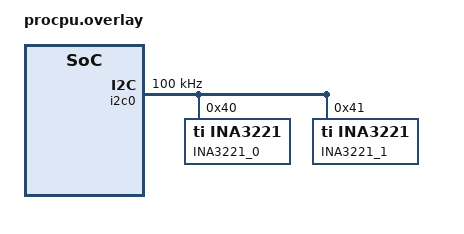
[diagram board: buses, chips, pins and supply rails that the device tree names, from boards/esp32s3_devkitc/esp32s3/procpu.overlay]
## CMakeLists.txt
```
cmake_minimum_required(VERSION 3.20.0)

find_package(Zephyr REQUIRED HINTS $ENV{ZEPHYR_BASE})
project(app_playground)

target_sources(app PRIVATE src/main.c)
# target_include_directories(app PRIVATE ${ZEPHYR_BASE}/subsys/fs/nvs)
```

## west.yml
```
manifest:
  projects:
    - name: app-nvs-lib
      url: https://github.com/pandazxx/app-nvs-lib.git
      revision: main
      path: modules/app-nvs-lib
```

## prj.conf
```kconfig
CONFIG_SETTINGS=y
CONFIG_BT_DEVICE_NAME="app_wifi_lib"
CONFIG_BT=y
CONFIG_BT_PERIPHERAL=y
CONFIG_BT_SETTINGS=y

# nvs
CONFIG_NVS=y
CONFIG_FLASH=y


## Wifi related
# Wi-Fi Configuration
CONFIG_WIFI=y

# Network Configuration
CONFIG_NET_CONFIG_AUTO_INIT=y
CONFIG_NET_CONNECTION_MANAGER=y
CONFIG_NET_DHCPV4=y
CONFIG_NET_DHCPV4_LOG_LEVEL_DBG=y
# CONFIG_NET_DHCPV4_SERVER=y
CONFIG_NET_IF_MAX_IPV4_COUNT=2
# CONFIG_NET_IF_MAX_IPV6_COUNT=2
CONFIG_NET_IPV4=y
CONFIG_NET_L2_ETHERNET=y
CONFIG_NET_L2_WIFI_MGMT=y
CONFIG_NET_MGMT=y
CONFIG_NET_MGMT_EVENT=y
CONFIG_NET_MGMT_EVENT_INFO=y
CONFIG_NET_MGMT_EVENT_QUEUE_SIZE=10
CONFIG_NET_MGMT_EVENT_STACK_SIZE=4096
CONFIG_NET_PKT_RX_COUNT=16
CONFIG_NET_PKT_TX_COUNT=16
CONFIG_NET_SOCKETS_SERVICE_STACK_SIZE=4096
CONFIG_NET_TCP=y
CONFIG_NET_UDP=y
CONFIG_NETWORKING=y

# LOG Configuration
CONFIG_NET_LOG=y
# CONFIG_NET_DHCPV4_SERVER_LOG_LEVEL_DBG=y
CONFIG_ESP32_WIFI_STA_RECONNECT=y

CONFIG_APP_WIFI_DEFAULT_SSID="ssid"
CONFIG_APP_WIFI_DEFAULT_PSK="psk"

# DNS
# Enable the DNS resolver
CONFIG_APP_DNS_LIB=y
CONFIG_DNS_RESOLVER=y
# Enable additional buffers
CONFIG_DNS_RESOLVER_ADDITIONAL_BUF_CTR=5
# Enable additional queries
CONFIG_DNS_RESOLVER_ADDITIONAL_QUERIES=2
# Enable mDNS support
CONFIG_MDNS_RESOLVER=y
# Enable LLMNR support
CONFIG_LLMNR_RESOLVER=n
CONFIG_DNS_RESOLVER_LOG_LEVEL_DBG=y
CONFIG_ZVFS_POLL_MAX=5
CONFIG_NET_CONFIG_SETTINGS=y
CONFIG_NET_CONFIG_NEED_IPV4=y




CONFIG_EARLY_CONSOLE=y
CONFIG_CPP=y
# General config
# CONFIG_MAIN_STACK_SIZE=3072
CONFIG_SYSTEM_WORKQUEUE_STACK_SIZE=2048
CONFIG_SHELL=n
CONFIG_LOG=y
CONFIG_ENTROPY_GENERATOR=y
# CONFIG_TEST_RANDOM_GENERATOR=y
CONFIG_INIT_STACKS=y
CONFIG_ZVFS_OPEN_MAX=32
CONFIG_POSIX_API=y
CONFIG_FDTABLE=y
CONFIG_ZVFS_POLL_MAX=32

# Eventfd
CONFIG_EVENTFD=y

# Networking config
CONFIG_NETWORKING=y
#CONFIG_TEST_RANDOM_GENERATOR=y
CONFIG_NET_IPV4=y
CONFIG_NET_IPV6=n
CONFIG_NET_TCP=y
CONFIG_NET_SOCKETS=y
CONFIG_NET_CONNECTION_MANAGER=y
CONFIG_NET_SHELL=n
CONFIG_NET_STATISTICS=n
CONFIG_NET_STATISTICS_USER_API=n
CONFIG_NET_LOG=y

# CONFIG_MAIN_STACK_SIZE=5200
# CONFIG_SHELL_STACK_SIZE=5200
# CONFIG_NET_TX_STACK_SIZE=2048
# CONFIG_NET_RX_STACK_SIZE=2048
# JSON
CONFIG_JSON_LIBRARY=y

CONFIG_NET_PKT_RX_COUNT=10
CONFIG_NET_PKT_TX_COUNT=10
CONFIG_NET_BUF_RX_COUNT=20
CONFIG_NET_BUF_TX_COUNT=20
CONFIG_NET_MAX_CONTEXTS=10
CONFIG_NET_DHCPV4=y
CONFIG_NET_DHCPV4_LOG_LEVEL_DBG=y
CONFIG_NET_DHCPV4_OPTION_DNS_ADDRESS=y
# HTTP parser
CONFIG_HTTP_PARSER_URL=n
CONFIG_HTTP_PARSER=n
CONFIG_HTTP_SERVER=n
CONFIG_HTTP_SERVER_WEBSOCKET=n

# CONFIG_NET_IPV4=y
# CONFIG_NET_IPV6=n
# Network buffers
CONFIG_NET_PKT_RX_COUNT=16
CONFIG_NET_PKT_TX_COUNT=16
CONFIG_NET_BUF_RX_COUNT=64
CONFIG_NET_BUF_TX_COUNT=64
CONFIG_NET_CONTEXT_NET_PKT_POOL=y

CONFIG_NET_TCP=y
# IP address options
# CONFIG_NET_IF_UNICAST_IPV6_ADDR_COUNT=3
# CONFIG_NET_IF_MCAST_IPV6_ADDR_COUNT=4
CONFIG_NET_MAX_CONTEXTS=32
CONFIG_NET_MAX_CONN=32

CONFIG_NET_LOG=y
CONFIG_INIT_STACKS=y
# Network address config
CONFIG_NET_CONFIG_SETTINGS=y
CONFIG_NET_CONFIG_NEED_IPV4=y
CONFIG_NET_CONFIG_NEED_IPV6=n
# CONFIG_NET_CONFIG_MY_IPV4_ADDR="192.0.2.1"
# CONFIG_NET_CONFIG_PEER_IPV4_ADDR="192.0.2.2"
# CONFIG_NET_CONFIG_MY_IPV4_GW="192.0.2.2"
# CONFIG_NET_CONFIG_MY_IPV6_ADDR="2001:db8::1"
# CONFIG_NET_CONFIG_PEER_IPV6_ADDR="2001:db8::2"

CONFIG_NET_SHELL=n
# Networking tweaks
# Required to handle large number of consecutive connections,
# e.g. when testing with ApacheBench.
CONFIG_NET_TCP_TIME_WAIT_DELAY=0

CONFIG_NET_STATISTICS=n
CONFIG_NET_STATISTICS_PERIODIC_OUTPUT=n
# Device drivers
CONFIG_GPIO=y
CONFIG_LED=y
CONFIG_I2C=y
CONFIG_SENSOR=y
CONFIG_INA3221=y

CONFIG_WIFI=y
CONFIG_WIFI_LOG_LEVEL_ERR=y
# CONFIG_NET_L2_WIFI_SHELL=y
CONFIG_WIFI_USAGE_MODE_STA=y

# printing of scan results puts pressure on queues in new locking
# design in net_mgmt. So, use a higher timeout for a crowded
# environment.
CONFIG_NET_MGMT_EVENT_QUEUE_TIMEOUT=5000
CONFIG_NET_MGMT_EVENT_QUEUE_SIZE=8
# Network debug config
CONFIG_NET_SOCKETS_LOG_LEVEL_DBG=n
CONFIG_NET_HTTP_LOG_LEVEL_DBG=n
# CONFIG_NET_IPV6_LOG_LEVEL_DBG=n
# CONFIG_NET_IPV6_ND_LOG_LEVEL_DBG=n

# MQTT
# Enable the MQTT Lib
CONFIG_MQTT_LIB=y



# Enable the DNS resolver
CONFIG_DNS_RESOLVER=y
# Enable additional buffers
CONFIG_DNS_RESOLVER_ADDITIONAL_BUF_CTR=5
# Enable additional queries
CONFIG_DNS_RESOLVER_ADDITIONAL_QUERIES=2
# Enable mDNS support
CONFIG_MDNS_RESOLVER=y
# Enable LLMNR support
CONFIG_LLMNR_RESOLVER=n
CONFIG_DNS_RESOLVER_LOG_LEVEL_DBG=y

# Enable MQTT
CONFIG_APP_MQTT_LIB=y
CONFIG_APP_POLL_LIB=y

# CONFIG_SPEED_OPTIMIZATIONS=n

CONFIG_SENSOR_LOG_LEVEL_DBG=y
```

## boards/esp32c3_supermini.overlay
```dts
/ {
  chosen {
    /* zephyr,display = &ssd1306; */
  };
  aliases {
  };
  
  buttons { 
    
  };
};
```

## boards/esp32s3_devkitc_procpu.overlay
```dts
/ {
  chosen {
    /* zephyr,display = &ssd1306; */
  };
  aliases {
  };

  buttons {
  };
};

&i2c0 {
  status = "okay";
  clock-frequency = <I2C_BITRATE_STANDARD>;
  pinctrl-0 = <&i2c0_default>;
  pinctrl-names = "default";

  ina0: ina3221@40 {
    compatible = "ti,ina3221";
    reg = <0x40>;
    #address-cells = <1>;
    #size-cells = <0>;
    status = "disabled";
    label = "INA3221_0";
    shunt-resistors = <010 010 010>;
    conv-time-shunt = <6>;
    conv-time-bus = <6>;
    avg-mode = <2>;

    channel@0 {
      compatible = "app,ina3221channel";
      reg = <0>;
      app,tag = "main_12v";
    };

    channel@1 {
      compatible = "app,ina3221channel";
      reg = <1>;
      app,tag = "fan_12v";
    };

    channel@2 {
      compatible = "app,ina3221channel";
      reg = <2>;
      app,tag = "aux_5v";
    };
  };
  ina1: ina3221@41 {
    compatible = "ti,ina3221";
    reg = <0x41>;
    #address-cells = <1>;
    #size-cells = <0>;
    label = "INA3221_1";
    status = "okay";
    shunt-resistors = <10 10 10>;
    conv-time-shunt = <6>;
    conv-time-bus = <6>;
    avg-mode = <2>;

    channel@0 {
      compatible = "app,ina3221channel";
      reg = <0>;
      app,tag = "module2_12v";
    };

    channel@1 {
      compatible = "app,ina3221channel";
      reg = <1>;
      app,tag = "module2_fan";
    };

    channel@2 {
      compatible = "app,ina3221channel";
      reg = <2>;
      app,tag = "module2_aux";
    };
  };
};
```

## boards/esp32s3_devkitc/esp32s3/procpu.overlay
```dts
/ {
  chosen {
    /* zephyr,display = &ssd1306; */
  };
  aliases {
  };

  buttons {
  };
};

&i2c0 {
  status = "okay";
  clock-frequency = <I2C_BITRATE_STANDARD>;
  pinctrl-0 = <&i2c0_default>;
  pinctrl-names = "default";

  ina0: ina3221@40 {
    compatible = "ti,ina3221";
    reg = <0x40>;
    #address-cells = <1>;
    #size-cells = <0>;
    status = "okay";
    label = "INA3221_0";
    shunt-resistors = <010 010 010>;
    conv-time-shunt = <6>;
    conv-time-bus = <6>;
    avg-mode = <2>;

    channel@0 {
      compatible = "app,ina3221channel";
      reg = <0>;
      app,tag = "main_12v";
    };

    channel@1 {
      compatible = "app,ina3221channel";
      reg = <1>;
      app,tag = "fan_12v";
    };

    channel@2 {
      compatible = "app,ina3221channel";
      reg = <2>;
      app,tag = "aux_5v";
    };
  };
  ina1: ina3221@41 {
    compatible = "ti,ina3221";
    reg = <0x41>;
    #address-cells = <1>;
    #size-cells = <0>;
    label = "INA3221_1";
    status = "okay";
    shunt-resistors = <010 010 010>;
    conv-time-shunt = <6>;
    conv-time-bus = <6>;
    avg-mode = <2>;

    channel@0 {
      compatible = "app,ina3221channel";
      reg = <0>;
      app,tag = "module2_12v";
    };

    channel@1 {
      compatible = "app,ina3221channel";
      reg = <1>;
      app,tag = "module2_fan";
    };

    channel@2 {
      compatible = "app,ina3221channel";
      reg = <2>;
      app,tag = "module2_aux";
    };
  };
};
```

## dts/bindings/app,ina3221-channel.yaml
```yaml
# SPDX-License-Identifier: Apache-2.0

description: App-specific metadata for INA3221 channel tags.

compatible: "app,ina3221channel"

include: base.yaml

properties:
  reg:
    required: true
    description: INA3221 channel index (0..2).
  app,tag:
    type: string
    description: Custom tag to publish with this channel.
  app,description:
    type: string
    description: Optional description for this channel.
```

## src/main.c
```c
#include "zephyr/logging/log.h"
#include "zephyr/logging/log_core.h"
#include "zephyr/net/mqtt.h"
#include "zephyr/sys/printk.h"
#include <app_dns_lib/app_dns_lib.h>
#include <app_mqtt_lib/app_mqtt_lib.h>
#include <app_poll_lib/app_poll_lib.h>
#include <app_wifi_lib/app_wifi_lib.h>
#include <zephyr/device.h>
#include <zephyr/drivers/sensor.h>
#include <zephyr/kernel.h>
#include <zephyr/sys/util.h>

LOG_MODULE_REGISTER(app_playground, LOG_LEVEL_DBG);
static app_dns_record test_dns_record = {.resolved = false,
                                         .host_name = "hcs01.local"};

static struct mqtt_topic ina3221_topic = {
    .topic = MQTT_UTF8_LITERAL("v1/sensors/ina3221/state"),
    .qos = MQTT_QOS_1_AT_LEAST_ONCE,
};

#define SENSOR_ATTR_INA3221_SELECTED_CHANNEL (SENSOR_ATTR_PRIV_START + 1)

struct ina3221_channel_meta {
  const struct device *dev;
  uint8_t channel;
  const char *tag;
};
// static const struct device *const ina1 = DEVICE_DT_GET(DT_NODELABEL(ina1));

#define INA3221_CHANNEL_TAG(node_id)                                           \
  DT_PROP_OR(node_id, app_tag,                                                 \
             DT_PROP_OR(node_id, app_description,                              \
                        DT_PROP_OR(node_id, label, "channel")))

#define INA3221_CHANNEL_ENTRY(node_id)                                         \
  IF_ENABLED(DT_NODE_HAS_STATUS(DT_PARENT(node_id), okay),                     \
             ({                                                                \
                  .dev = DEVICE_DT_GET(DT_PARENT(node_id)),                    \
                  .channel = DT_REG_ADDR(node_id),                             \
                  .tag = INA3221_CHANNEL_TAG(node_id),                         \
              }, ))

static const struct ina3221_channel_meta ina3221_channels[] = {
#if DT_HAS_COMPAT_STATUS_OKAY(app_ina3221channel)
    DT_FOREACH_STATUS_OKAY(app_ina3221channel, INA3221_CHANNEL_ENTRY)
#endif
};

// static int32_t sensor_value_to_milli(const struct sensor_value *val) {
//   /* Convert sensor_value (val1 + val2/1e6) to milli-units without floats. */
//   return (int32_t)(val->val1 * 1000) + (int32_t)(val->val2 / 1000);
// }

static int ina3221_read_channel(const struct device *dev, uint8_t channel,

                                struct sensor_value *vbus,
                                struct sensor_value *icur) {
  struct sensor_value idx = {.val1 = channel + 1, .val2 = 0};

  int ret = sensor_attr_set(
      dev, SENSOR_CHAN_ALL,
      (enum sensor_attribute)SENSOR_ATTR_INA3221_SELECTED_CHANNEL, &idx);
  if (ret != 0) {
    return ret;
  }

  ret = sensor_sample_fetch(dev);
  if (ret != 0) {
    return ret;
  }

  ret = sensor_channel_get(dev, SENSOR_CHAN_VOLTAGE, vbus);
  if (ret != 0) {
    return ret;
  }

  return sensor_channel_get(dev, SENSOR_CHAN_CURRENT, icur);
}

int main(void) {
  app_wifi_lib_init();
  app_dns_lib_init();
  app_poll_lib_init();

  if (ARRAY_SIZE(ina3221_channels) == 0) {
    LOG_WRN("No INA3221 channels defined in devicetree");
  }
  LOG_ERR("found INA3221 modules: count=%d", ARRAY_SIZE(ina3221_channels));
  wait_for_network();
  printk("done waiting network\n");
  // k_sleep(K_SECONDS(10));
  struct sockaddr_in mqtt_addr;
  memset(&mqtt_addr, 0, sizeof(mqtt_addr));

  mqtt_addr.sin_family = AF_INET;
  mqtt_addr.sin_port = htons(1883); // port
  inet_pton(AF_INET, "10.10.10.123", &mqtt_addr.sin_addr);

  app_mqtt_lib_init("just for test", &mqtt_addr);
  LOG_DBG("waiting for mqtt");

  // wait_for_mqtt();
  // LOG_DBG("queryinng dns");
  // app_dns_query(&test_dns_record);
  //
  // k_sleep(K_SECONDS(10));
  //
  // LOG_DBG("queryinng dns");
  // app_dns_query(&test_dns_record);
  //
  // app_poll_start();

  while (1) {
    app_poll_loop();

    for (size_t idx = 0; idx < ARRAY_SIZE(ina3221_channels); idx++) {
      const struct ina3221_channel_meta *meta = &ina3221_channels[idx];
      // if (!device_is_ready(ina1)) {
      if (!device_is_ready(meta->dev)) {
        LOG_ERR("INA3221 device not ready: %s", meta->dev->name);
        continue;
      }

      struct sensor_value vbus;
      struct sensor_value icur;
      // int rc = ina3221_read_channel(ina1, meta->channel, &vbus, &icur);
      int rc = ina3221_read_channel(meta->dev, meta->channel, &vbus, &icur);
      if (rc != 0) {
        LOG_WRN("INA3221 read failed: dev=%s ch=%u rc=%d", meta->dev->name,
                meta->channel, rc);
        continue;
      }

      int32_t v_bus_mv = sensor_value_to_milli(&vbus);
      int32_t i_bus_ma = sensor_value_to_milli(&icur);
      char mqtt_buf[256];
      int len =
          snprintk(mqtt_buf, sizeof(mqtt_buf),
                   "{\"tag\":\"%s\",\"channel\":%u,\"v_bus_mv\":%d,"
                   "\"i_bus_ma\":%d, \"temp_c\":%d}",
                   meta->tag, meta->channel + 1, v_bus_mv, i_bus_ma, i_bus_ma);
      if (len < 0) {
        continue;
      }
      if (len >= sizeof(mqtt_buf)) {
        len = sizeof(mqtt_buf) - 1;
      }
      LOG_DBG("sensor: %s", mqtt_buf);

      app_mqtt_publish(ina3221_topic, (struct mqtt_binstr){
                                          .data = mqtt_buf,
                                          .len = len,
                                      });
    }

    k_sleep(K_SECONDS(1));
  }
}
```
